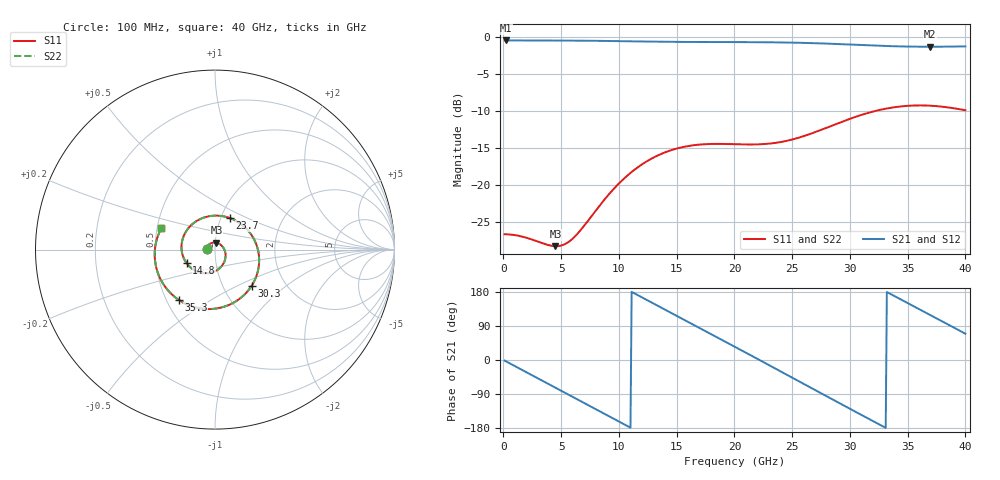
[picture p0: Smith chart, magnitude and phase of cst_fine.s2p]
! P_ts6_pad_cut: 0402 capacitor pad on a 50 Ω microstrip, L2 plane cut out under it (next plane L5, 1.14 mm)
! stackup: ThunderScope Rev5.3 6-layer (FR408HR / FR-4, from the board file)
! ports: 1, 2
! CST Studio Suite 2025.5 Release from 2025-05-30, time domain (FIT, hexahedral, PBA), 223443 mesh cells, 40 s
! mesh: {'lpw': 30.0, 'lpb': 30.0, 'minstep': 0.0, 'ratio': 20}; ports: port 1 (face); port 2 (face)
! interpolated from CST's 1001 samples to the case grid
# Hz S RI R 50
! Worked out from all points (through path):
!   400 points, 100 MHz to 40 GHz, reference 50 ohm
!   highest |S21| = -0.41 dB at 200 MHz (marker M1); lowest = -1.3 dB at 36.9 GHz (marker M2)
!   group delay of S21, straight-line fit = 45.2 ps
!   lowest |S11| = -28.2 dB at 4.5 GHz (marker M3), VSWR 1.08, Z = 50.7 + j3.84 ohm
!   |S11| at or under -10 dB: start of sweep to 32.08 GHz
!   |S22| runs from -28.2 to -9.2 dB; largest |S21 - S12| = 3.6e-07
!   S11 on the Smith chart (normalised r, x): 100 MHz: 0.91, +0.00; 14.8 GHz: 0.72, -0.11; 23.7 GHz: 1.10, +0.40; 30.3 GHz: 1.36, -0.60; 35.3 GHz: 0.58, -0.37; 40 GHz: 0.53, +0.14
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1e8  -0.0466 0.00147  0.953 -0.027  0.953 -0.027  -0.0466 0.00147
2e8  -0.0465 0.00295  0.9518 -0.0539  0.9518 -0.0539  -0.0465 0.00295
2.2e9  -0.0323 0.0293  0.7742 -0.5561  0.7742 -0.5561  -0.0323 0.0293
4.5e9  0.00832 0.0378  0.2779 -0.9109  0.2779 -0.9109  0.00832 0.0378
6.8e9  0.051 0.00257  -0.3315 -0.8903  -0.3315 -0.8903  0.051 0.00257
8.6e9  0.0567 -0.0528  -0.7219 -0.6126  -0.7219 -0.6126  0.0567 -0.0528
1.02e10  0.0267 -0.1031  -0.9136 -0.2337  -0.9136 -0.2337  0.0267 -0.1031
1.18e10  -0.0334 -0.131  -0.9198 0.1883  -0.9198 0.1883  -0.0334 -0.131
1.34e10  -0.1052 -0.1199  -0.7426 0.5684  -0.7426 0.5684  -0.1052 -0.1199
1.48e10  -0.1577 -0.0767  -0.4657 0.808  -0.4657 0.808  -0.1577 -0.0767
1.74e10  -0.1826 0.0501  0.195 0.9096  0.195 0.9096  -0.1826 0.0501
2.01e10  -0.1013 0.16  0.7707 0.5194  0.7707 0.5194  -0.1013 0.16
2.19e10  -0.0131 0.1884  0.9253 0.073  0.9253 0.073  -0.0131 0.1884
2.37e10  0.0816 0.1762  0.8381 -0.3921  0.8381 -0.3921  0.0816 0.1762
2.67e10  0.216 0.0607  0.244 -0.8818  0.244 -0.8818  0.216 0.0607
2.84e10  0.246 -0.0557  -0.1963 -0.884  -0.1963 -0.884  0.246 -0.0557
3.03e10  0.2046 -0.201  -0.6161 -0.646  -0.6161 -0.646  0.2046 -0.201
3.34e10  -0.0312 -0.3312  -0.8711 0.0589  -0.8711 0.0589  -0.0312 -0.3312
3.53e10  -0.2033 -0.2794  -0.7145 0.4898  -0.7145 0.4898  -0.2033 -0.2794
3.69e10  -0.3042 -0.1634  -0.4294 0.7504  -0.4294 0.7504  -0.3042 -0.1634
3.85e10  -0.3357 -0.0145  -0.0577 0.8641  -0.0577 0.8641  -0.3357 -0.0145
4e10  -0.2986 0.1197  0.308 0.8127  0.308 0.8127  -0.2986 0.1197
